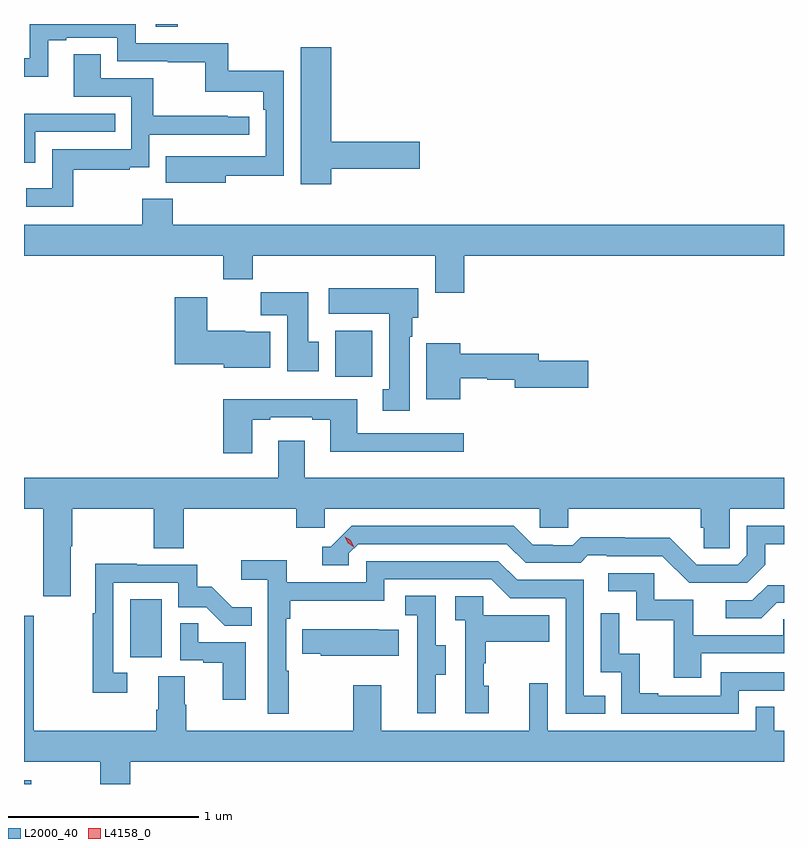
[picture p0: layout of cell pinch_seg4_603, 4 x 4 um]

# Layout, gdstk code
import gdstk
lib = gdstk.Library(unit=1e-6, precision=1e-09)
def R(c, l, rs):  # rectangles x0, y0, x1, y1
    for r in rs: c.add(gdstk.rectangle(r[:2], r[2:], *l))
def P(c, l, *ps):  # polygons
    for p in ps: c.add(gdstk.Polygon(p, *l))
L2000_40 = (2000, 40)
L4158_0 = (4158, 0)

pinch_seg4_603 = lib.new_cell('pinch_seg4_603')
R(pinch_seg4_603, L2000_40, [(1057.644,782.052,1057.681,782.073), (1058.204,782.718,1058.368,783.025), (1059.281,784.196,1059.478,784.438), (1058.337,786.037,1058.453,786.052)])
P(pinch_seg4_603, L2000_40, [(1058.707,785.254),(1059.012,785.254),(1059.012,785.806),(1058.719,785.806),(1058.719,785.952),(1058.232,785.952),(1058.232,786.052),(1057.674,786.052),(1057.674,785.871),(1057.644,785.871),(1057.644,785.774),(1057.771,785.774),(1057.771,785.967),(1057.867,785.967),(1057.867,785.979),(1058.136,785.979),(1058.136,785.856),(1058.401,785.856),(1058.401,785.851),(1058.598,785.851),(1058.598,785.696),(1058.903,785.696),(1058.903,785.6),(1058.916,785.6),(1058.916,785.355),(1058.603,785.355),(1058.603,785.356),(1058.389,785.356),(1058.389,785.216),(1058.707,785.216)],
  [(1059.262,785.29),(1059.727,785.29),(1059.727,785.432),(1059.262,785.432),(1059.262,785.929),(1059.101,785.929),(1059.101,785.208),(1059.262,785.208)],
  [(1057.903,785.286),(1058.201,785.286),(1058.201,785.297),(1058.304,785.297),(1058.304,785.469),(1058.83,785.469),(1058.83,785.565),(1058.717,785.565),(1058.717,785.57),(1058.324,785.57),(1058.324,785.766),(1058.047,785.766),(1058.047,785.894),(1057.907,785.894),(1057.907,785.67),(1058.208,785.67),(1058.208,785.394),(1057.792,785.394),(1057.792,785.188),(1057.657,785.188),(1057.657,785.091),(1057.903,785.091)],
  [(1057.704,785.484),(1058.123,785.484),(1058.123,785.58),(1057.644,785.58),(1057.644,785.321),(1057.704,785.321)],
  [(1059.962,784.832),(1061.644,784.832),(1061.644,784.996),(1058.426,784.996),(1058.426,785.131),(1058.266,785.131),(1058.266,784.996),(1057.644,784.996),(1057.644,784.832),(1058.693,784.832),(1058.693,784.708),(1058.849,784.708),(1058.849,784.832),(1059.809,784.832),(1059.809,784.638),(1059.962,784.638)],
  [(1059.673,784.406),(1059.688,784.406),(1059.688,784.506),(1059.718,784.506),(1059.718,784.66),(1059.249,784.66),(1059.249,784.526),(1059.566,784.526),(1059.566,784.13),(1059.533,784.13),(1059.533,784.017),(1059.673,784.017)],
  [(1059.196,784.38),(1059.139,784.38),(1059.139,784.639),(1058.89,784.639),(1058.89,784.52),(1059.029,784.52),(1059.029,784.224),(1059.196,784.224)],
  [(1058.941,784.432),(1058.808,784.432),(1058.808,784.438),(1058.608,784.438),(1058.608,784.615),(1058.438,784.615),(1058.438,784.262),(1058.694,784.262),(1058.694,784.244),(1058.941,784.244)],
  [(1059.94,784.188),(1060.083,784.188),(1060.083,784.18),(1060.226,784.18),(1060.226,784.138),(1060.615,784.138),(1060.615,784.28),(1060.354,784.28),(1060.354,784.316),(1059.94,784.316),(1059.94,784.372),(1059.761,784.372),(1059.761,784.076),(1059.94,784.076)],
  [(1058.845,783.969),(1058.941,783.969),(1058.941,783.981),(1059.161,783.981),(1059.161,783.969),(1059.257,783.969),(1059.257,783.8),(1059.958,783.8),(1059.958,783.897),(1059.397,783.897),(1059.397,784.078),(1058.693,784.078),(1058.693,783.792),(1058.845,783.792)],
  [(1057.891,783.304),(1057.899,783.304),(1057.899,783.5),(1058.326,783.5),(1058.326,783.292),(1058.486,783.292),(1058.486,783.5),(1059.077,783.5),(1059.077,783.402),(1059.228,783.402),(1059.228,783.5),(1060.359,783.5),(1060.359,783.402),(1060.509,783.402),(1060.509,783.5),(1061.207,783.5),(1061.207,783.402),(1061.221,783.402),(1061.221,783.292),(1061.358,783.292),(1061.358,783.5),(1061.644,783.5),(1061.644,783.664),(1059.121,783.664),(1059.121,783.859),(1058.981,783.859),(1058.981,783.664),(1057.644,783.664),(1057.644,783.5),(1057.744,783.5),(1057.744,783.039),(1057.891,783.039)],
  [(1061.545,783.205),(1061.545,783.315),(1061.644,783.315),(1061.644,783.411),(1061.448,783.411),(1061.448,783.255),(1061.4,783.207),(1061.184,783.207),(1061.042,783.349),(1060.806,783.349),(1060.806,783.352),(1060.573,783.352),(1060.531,783.309),(1060.428,783.309),(1060.428,783.312),(1060.321,783.312),(1060.222,783.411),(1059.369,783.411),(1059.258,783.3),(1059.215,783.3),(1059.215,783.204),(1059.354,783.204),(1059.354,783.267),(1059.402,783.315),(1060.185,783.315),(1060.284,783.216),(1060.573,783.216),(1060.612,783.255),(1060.711,783.255),(1060.711,783.252),(1061.004,783.252),(1061.145,783.111),(1061.451,783.111)],
  [(1059.037,782.648),(1059.024,782.648),(1059.024,782.921),(1059.044,782.921),(1059.044,783.017),(1059.54,783.017),(1059.54,783.129),(1060.104,783.129),(1060.203,783.03),(1060.494,783.03),(1060.494,782.421),(1060.703,782.421),(1060.703,782.517),(1060.59,782.517),(1060.59,783.126),(1060.24,783.126),(1060.141,783.225),(1059.444,783.225),(1059.444,783.114),(1059.026,783.114),(1059.026,783.23),(1058.787,783.23),(1058.787,783.128),(1058.928,783.128),(1058.928,782.421),(1059.037,782.421)],
  [(1058.188,782.637),(1058.115,782.637),(1058.115,783.111),(1058.457,783.111),(1058.457,782.982),(1058.602,782.982),(1058.7,782.884),(1058.843,782.884),(1058.843,782.983),(1058.739,782.983),(1058.632,783.09),(1058.556,783.09),(1058.556,783.207),(1058.237,783.207),(1058.237,783.212),(1058.019,783.212),(1058.019,782.951),(1058.007,782.951),(1058.007,782.532),(1058.188,782.532)],
  [(1061.209,782.739),(1061.644,782.739),(1061.644,782.919),(1061.641,782.919),(1061.641,782.835),(1061.167,782.835),(1061.167,783.021),(1060.962,783.021),(1060.962,783.162),(1060.719,783.162),(1060.719,783.066),(1060.866,783.066),(1060.866,782.913),(1061.065,782.913),(1061.065,782.61),(1061.209,782.61)],
  [(1061.605,783.006),(1061.644,783.006),(1061.644,783.098),(1061.558,783.098),(1061.478,783.018),(1061.337,783.018),(1061.337,782.925),(1061.524,782.925)],
  [(1059.811,782.626),(1059.865,782.626),(1059.865,782.781),(1059.81,782.781),(1059.81,783.044),(1059.651,783.044),(1059.651,782.941),(1059.714,782.941),(1059.714,782.637),(1059.713,782.637),(1059.713,782.424),(1059.811,782.424)],
  [(1060.09,782.568),(1060.065,782.568),(1060.065,782.687),(1060.075,782.687),(1060.075,782.801),(1060.409,782.801),(1060.409,782.941),(1060.062,782.941),(1060.062,783.039),(1059.915,783.039),(1059.915,782.915),(1059.966,782.915),(1059.966,782.424),(1060.09,782.424)],
  [(1061.406,782.544),(1061.644,782.544),(1061.644,782.64),(1061.31,782.64),(1061.31,782.517),(1060.981,782.517),(1060.981,782.53),(1060.886,782.53),(1060.886,782.738),(1060.776,782.738),(1060.776,782.95),(1060.68,782.95),(1060.68,782.64),(1060.788,782.64),(1060.788,782.421),(1061.406,782.421)],
  [(1058.204,782.168),(1061.644,782.168),(1061.644,782.332),(1061.592,782.332),(1061.592,782.459),(1061.496,782.459),(1061.496,782.332),(1060.401,782.332),(1060.401,782.581),(1060.304,782.581),(1060.304,782.332),(1059.523,782.332),(1059.523,782.572),(1059.376,782.572),(1059.376,782.332),(1058.499,782.332),(1058.499,782.469),(1058.491,782.469),(1058.491,782.618),(1058.351,782.618),(1058.351,782.444),(1058.339,782.444),(1058.339,782.332),(1057.696,782.332),(1057.696,782.938),(1057.644,782.938),(1057.644,782.168),(1058.044,782.168),(1058.044,782.052),(1058.204,782.052)],
  [(1058.812,782.799),(1058.561,782.799),(1058.561,782.897),(1058.466,782.897),(1058.466,782.703),(1058.587,782.703),(1058.587,782.691),(1058.69,782.691),(1058.69,782.496),(1058.812,782.496)],
  [(1059.617,782.863),(1059.509,782.863),(1059.509,782.866),(1059.109,782.866),(1059.109,782.737),(1059.207,782.737),(1059.207,782.726),(1059.617,782.726)])
P(pinch_seg4_603, L4158_0, [(1059.378,783.301),(1059.348,783.321),(1059.332,783.354),(1059.332,783.354),(1059.332,783.354),(1059.363,783.334),(1059.379,783.302),(1059.379,783.301)])

lib.write_gds('pinch_seg4_603.gds')
